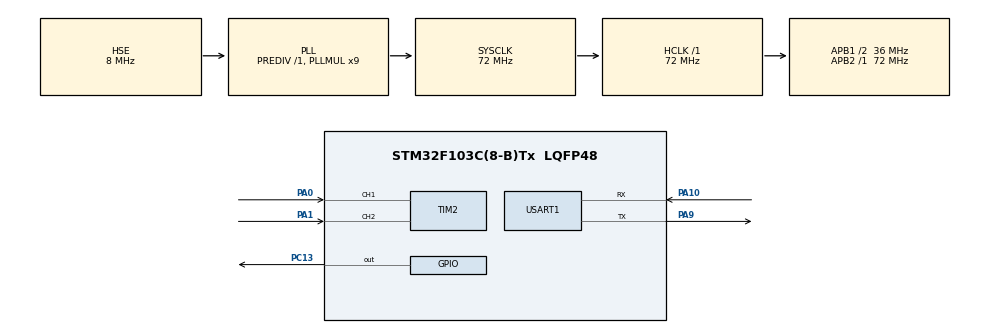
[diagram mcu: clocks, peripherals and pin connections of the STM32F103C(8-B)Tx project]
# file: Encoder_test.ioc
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Mcu.Family=STM32F1
Mcu.Name=STM32F103C(8-B)Tx
Mcu.Package=LQFP48
NVIC.PriorityGroup=NVIC_PRIORITYGROUP_4
NVIC.TIM2_IRQn=true\:0\:0\:false\:false\:true\:true\:true\:true
NVIC.TIM4_IRQn=true\:0\:0\:false\:false\:true\:true\:true\:true
NVIC.USART1_IRQn=true\:0\:0\:false\:false\:true\:true\:true\:true
PA0-WKUP.Signal=S_TIM2_CH1_ETR
PA1.Signal=S_TIM2_CH2
PA10.Mode=Asynchronous
PA10.Signal=USART1_RX
PA13.Mode=Serial_Wire
PA13.Signal=SYS_JTMS-SWDIO
PA14.Mode=Serial_Wire
PA14.Signal=SYS_JTCK-SWCLK
PA9.Mode=Asynchronous
PA9.Signal=USART1_TX
PC13-TAMPER-RTC.PinState=GPIO_PIN_SET
PC13-TAMPER-RTC.Signal=GPIO_Output
PD0-OSC_IN.Mode=HSE-External-Oscillator
PD0-OSC_IN.Signal=RCC_OSC_IN
PD1-OSC_OUT.Mode=HSE-External-Oscillator
PD1-OSC_OUT.Signal=RCC_OSC_OUT
ProjectManager.HeapSize=0x200
ProjectManager.StackSize=0x400
ProjectManager.TargetToolchain=MDK-ARM V5.32
RCC.AHBFreq_Value=72000000
RCC.APB1CLKDivider=RCC_HCLK_DIV2
RCC.APB1Freq_Value=36000000
RCC.APB1TimFreq_Value=72000000
RCC.APB2Freq_Value=72000000
RCC.APB2TimFreq_Value=72000000
RCC.HCLKFreq_Value=72000000
RCC.PLLMUL=RCC_PLL_MUL9
RCC.PLLSourceVirtual=RCC_PLLSOURCE_HSE
RCC.SYSCLKFreq_VALUE=72000000
RCC.SYSCLKSource=RCC_SYSCLKSOURCE_PLLCLK
RCC.USBFreq_Value=72000000
SH.S_TIM2_CH1_ETR.0=TIM2_CH1,Encoder_Interface
SH.S_TIM2_CH2.0=TIM2_CH2,Encoder_Interface
TIM2.EncoderMode=TIM_ENCODERMODE_TI12
TIM2.IC1Filter=4
TIM2.IC2Filter=4
TIM4.Period=1000-1
TIM4.Prescaler=720-1
USART1.VirtualMode=VM_ASYNC
VP_TIM4_VS_ClockSourceINT.Mode=Internal
board=custom

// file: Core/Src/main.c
/* USER CODE BEGIN Header */
/**
  ******************************************************************************
  * @file           : main.c
  * @brief          : Main program body
  ******************************************************************************
  * @attention
  *
  * Copyright (c) 2025 STMicroelectronics.
  * All rights reserved.
  *
  * This software is licensed under terms that can be found in the LICENSE file
  * in the root directory of this software component.
  * If no LICENSE file comes with this software, it is provided AS-IS.
  *
  ******************************************************************************
  */
/* USER CODE END Header */
#include "main.h"
#include "tim.h"
#include "usart.h"
#include "gpio.h"

/* USER CODE BEGIN Includes */

#include "stdio.h"

extern TIM_HandleTypeDef htim2;  // 编码器
extern TIM_HandleTypeDef htim4;  // 定时器（周期中断）
extern UART_HandleTypeDef huart1; // 串口

/* USER CODE END Includes */

/* USER CODE BEGIN PV */

uint8_t tx_buf[50];   // 串口发送缓冲
int16_t last_cnt = 0;
int16_t speed = 0;

/* USER CODE END PV */

void SystemClock_Config(void);

int main(void)
{

  /* MCU Configuration--------------------------------------------------------*/

  /* Reset of all peripherals, Initializes the Flash interface and the Systick. */
  HAL_Init();

  /* Configure the system clock */
  SystemClock_Config();

  /* Initialize all configured peripherals */
  MX_GPIO_Init();
  MX_TIM2_Init();
  MX_USART1_UART_Init();
  MX_TIM4_Init();
  /* USER CODE BEGIN 2 */

  HAL_TIM_Encoder_Start(&htim2, TIM_CHANNEL_ALL);
  HAL_TIM_Base_Start_IT(&htim4);

  // HAL_TIM_Encoder_Start(&htim2, TIM_CHANNEL_1);
  // HAL_TIM_Encoder_Start(&htim2, TIM_CHANNEL_2);

  /* USER CODE END 2 */

  /* Infinite loop */
  while (1)
  {

  }
}

void SystemClock_Config(void)
{
  RCC_OscInitTypeDef RCC_OscInitStruct = {0};
  RCC_ClkInitTypeDef RCC_ClkInitStruct = {0};

  /** Initializes the RCC Oscillators according to the specified parameters
  * in the RCC_OscInitTypeDef structure.
  */
  RCC_OscInitStruct.OscillatorType = RCC_OSCILLATORTYPE_HSE;
  RCC_OscInitStruct.HSEState = RCC_HSE_ON;
  RCC_OscInitStruct.HSEPredivValue = RCC_HSE_PREDIV_DIV1;
  RCC_OscInitStruct.HSIState = RCC_HSI_ON;
  RCC_OscInitStruct.PLL.PLLState = RCC_PLL_ON;
  RCC_OscInitStruct.PLL.PLLSource = RCC_PLLSOURCE_HSE;
  RCC_OscInitStruct.PLL.PLLMUL = RCC_PLL_MUL9;
  if (HAL_RCC_OscConfig(&RCC_OscInitStruct) != HAL_OK)
  {
    Error_Handler();
  }

  /** Initializes the CPU, AHB and APB buses clocks
  */
  RCC_ClkInitStruct.ClockType = RCC_CLOCKTYPE_HCLK|RCC_CLOCKTYPE_SYSCLK
                              |RCC_CLOCKTYPE_PCLK1|RCC_CLOCKTYPE_PCLK2;
  RCC_ClkInitStruct.SYSCLKSource = RCC_SYSCLKSOURCE_PLLCLK;
  RCC_ClkInitStruct.AHBCLKDivider = RCC_SYSCLK_DIV1;
  RCC_ClkInitStruct.APB1CLKDivider = RCC_HCLK_DIV2;
  RCC_ClkInitStruct.APB2CLKDivider = RCC_HCLK_DIV1;

  if (HAL_RCC_ClockConfig(&RCC_ClkInitStruct, FLASH_LATENCY_2) != HAL_OK)
  {
    Error_Handler();
  }
}

/* USER CODE BEGIN 4 */

void HAL_TIM_PeriodElapsedCallback(TIM_HandleTypeDef *htim)
{
  if (htim->Instance == TIM4) //10ms中断
  {
    int16_t now = (int16_t)__HAL_TIM_GET_COUNTER(&htim2);
    speed = now - last_cnt;
    last_cnt = now;

    HAL_GPIO_TogglePin(GPIOC, GPIO_PIN_13);

    int len = sprintf((char *)tx_buf, "cnt,speed: %d,%d\r\n", now, speed);
    HAL_UART_Transmit(&huart1, tx_buf, len, HAL_MAX_DELAY);
  }
}

/* USER CODE END 4 */

void Error_Handler(void)
{
  __disable_irq();
  while (1)
  {
  }
}
